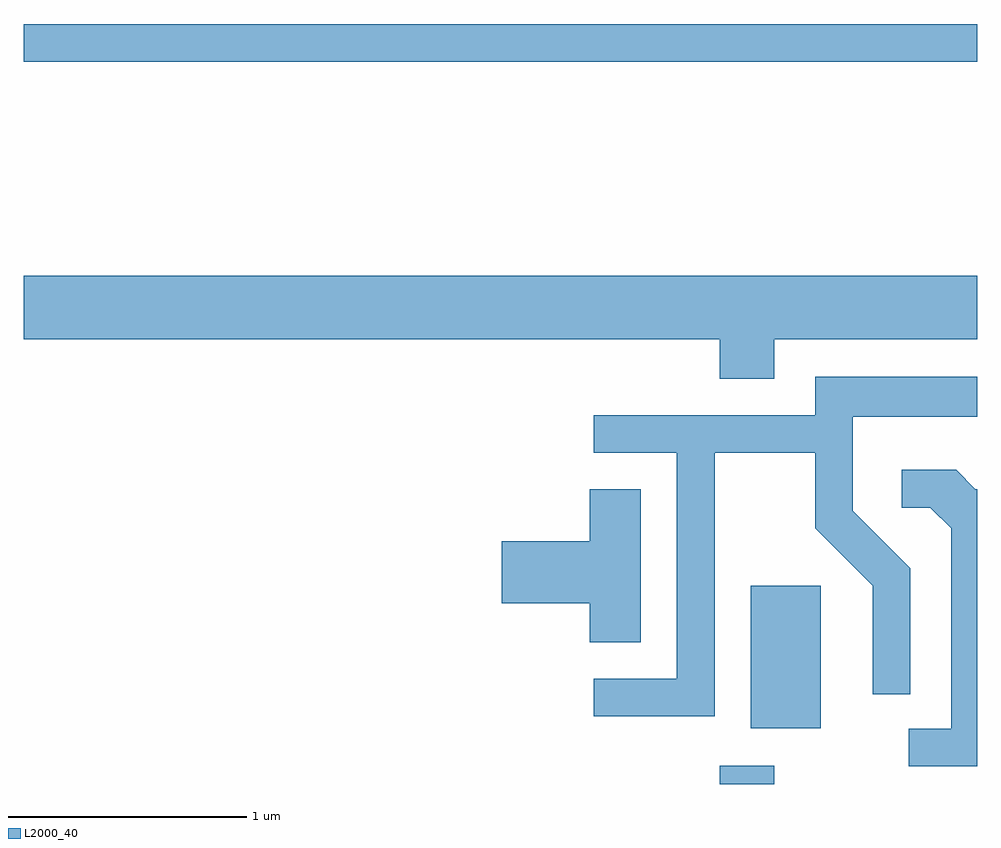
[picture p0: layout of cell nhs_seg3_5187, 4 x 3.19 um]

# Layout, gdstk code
import gdstk
lib = gdstk.Library(unit=1e-6, precision=1e-09)
def R(c, l, rs):  # rectangles x0, y0, x1, y1
    for r in rs: c.add(gdstk.rectangle(r[:2], r[2:], *l))
def P(c, l, *ps):  # polygons
    for p in ps: c.add(gdstk.Polygon(p, *l))
L2000_40 = (2000, 40)

nhs_seg3_5187 = lib.new_cell('nhs_seg3_5187')
R(nhs_seg3_5187, L2000_40, [(340.531,1161.892,340.759,1161.969), (340.661,1162.126,340.954,1162.724), (337.611,1164.921,341.611,1165.079)])
P(nhs_seg3_5187, L2000_40, [(340.759,1163.756),(341.611,1163.756),(341.611,1164.024),(337.611,1164.024),(337.611,1163.756),(340.531,1163.756),(340.531,1163.591),(340.759,1163.591)],
  [(340.509,1163.281),(340.931,1163.281),(340.931,1162.964),(341.171,1162.724),(341.171,1162.268),(341.329,1162.268),(341.329,1162.797),(341.089,1163.037),(341.089,1163.431),(341.611,1163.431),(341.611,1163.599),(340.931,1163.599),(340.931,1163.439),(340.003,1163.439),(340.003,1163.281),(340.351,1163.281),(340.351,1162.334),(340.003,1162.334),(340.003,1162.176),(340.509,1162.176)],
  [(341.611,1163.129),(341.602,1163.129),(341.522,1163.209),(341.293,1163.209),(341.293,1163.051),(341.414,1163.051),(341.501,1162.964),(341.501,1162.124),(341.323,1162.124),(341.323,1161.966),(341.611,1161.966)],
  [(340.199,1163.129),(339.986,1163.129),(339.986,1162.909),(339.616,1162.909),(339.616,1162.651),(339.986,1162.651),(339.986,1162.486),(340.199,1162.486)])

lib.write_gds('nhs_seg3_5187.gds')
